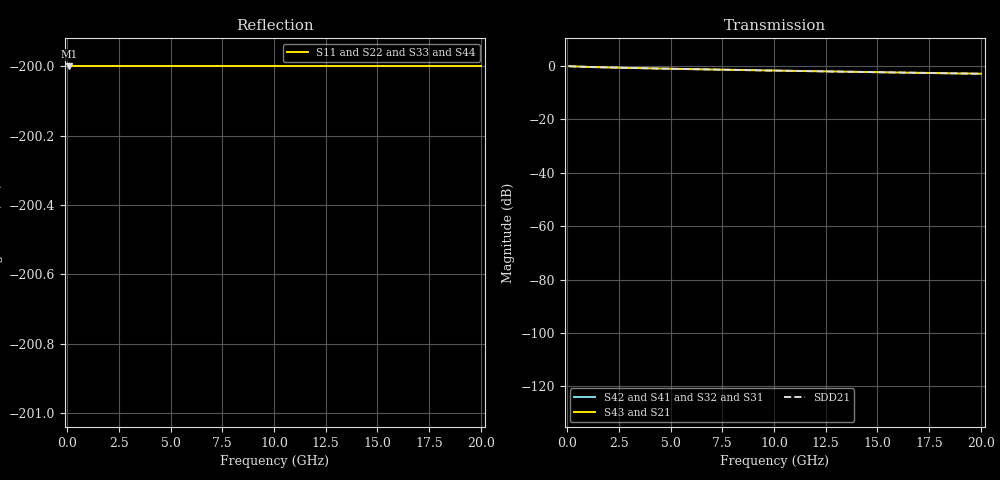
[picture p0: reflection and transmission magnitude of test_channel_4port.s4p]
! Synthetic 4-port differential channel - generate_golden_channels.py
! Two uncoupled copies of test_channel.s2p: (1->2) and (3->4)
! Known results: SDD21 = single-ended S21 exactly,
! SDC21 = SCD21 = 0 (no mode conversion)
# HZ S RI R 50
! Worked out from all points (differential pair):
!   500 points, 100 MHz to 20 GHz, reference 50 ohm
!   strongest paths, dB at 100 MHz, 5.085 GHz, 10.07 GHz, 15.05 GHz, 20 GHz:
!     S43: -0.1, -1.1, -1.8, -2.4, -2.9
!     S21: -0.1, -1.1, -1.8, -2.4, -2.9
!     S42: -, -, -, -, -
!     S41: -, -, -, -, -
!     S32: -, -, -, -, -
!     S31: -, -, -, -, -
!   taken as a pair (ports 3,1 in; 4,2 out), SDD21 dB: -0.1, -1.1, -1.8, -2.4, -2.9
!   lowest |S11| = - dB at 100 MHz (marker M1), VSWR 1.00, Z = 50 + j0 ohm
!   |S11| at or under -10 dB: start of sweep to end of sweep
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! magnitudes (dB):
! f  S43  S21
! 100 MHz  -0.1  -0.1
! 778 MHz  -0.3  -0.3
! 1.934 GHz  -0.6  -0.6
! 3.649 GHz  -0.9  -0.9
! 5.883 GHz  -1.2  -1.2
! 11.98 GHz  -2.0  -2.0
! 20 GHz  -2.9  -2.9
